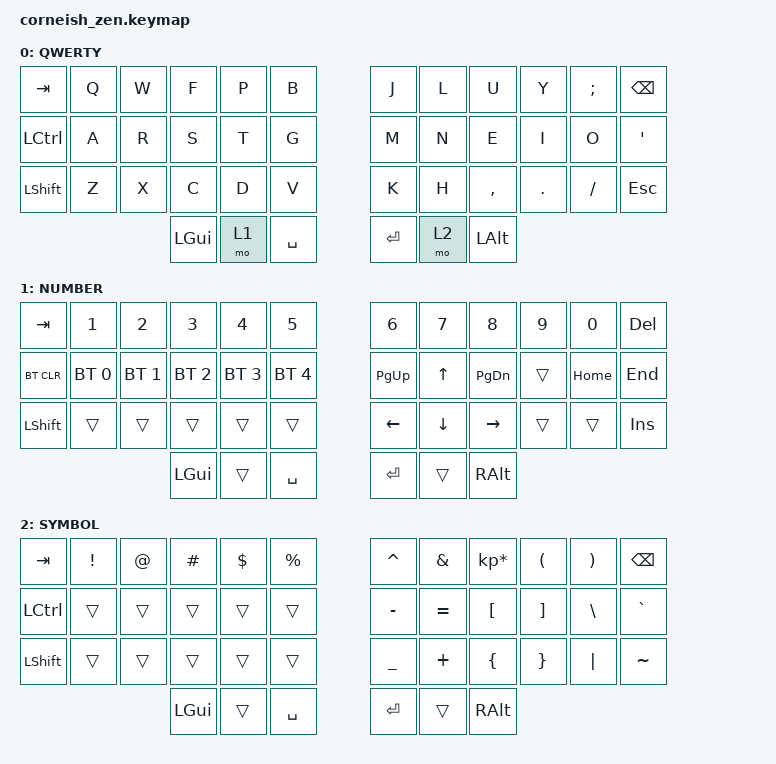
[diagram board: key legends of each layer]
/*
*
* Copyright (c) 2021 Darryl deHaan
* SPDX-License-Identifier: MIT
*
*/

#include <behaviors.dtsi>
#include <dt-bindings/zmk/keys.h>
#include <dt-bindings/zmk/bt.h>

/ {
  chosen {
    zmk,matrix_transform = &default_transform;
    //zmk,matrix_transform = &five_column_transform;
  };
};

/ {
        keymap {
                compatible = "zmk,keymap";

                default_layer {
                        label = "QWERTY";
// -----------------------------------------------------------------------------------------
// |  TAB |  Q  |  W  |  F  |  P  |  B  |   |  J  |  L   |  U  |  Y  |  ;  | BKSP |
// | CTRL |  A  |  R  |  S  |  T  |  G  |   |  M  |  N   |  E  |  I  |  O  |  '   |
// | SHFT |  Z  |  X  |  C  |  D  |  V  |   |  K  |  H   |  ,  |  .  |  /  | ESC  |
//                    | GUI | LWR | SPC |   | ENT | RSE  | ALT |
                        bindings = <
   &kp TAB   &kp Q &kp W &kp F &kp P &kp B   &kp J &kp L  &kp U     &kp Y   &kp SEMI &kp BSPC
   &kp LCTRL &kp A &kp R &kp S &kp T &kp G   &kp M &kp N  &kp E     &kp I   &kp O    &kp SQT
   &kp LSHFT &kp Z &kp X &kp C &kp D &kp V   &kp K &kp H  &kp COMMA &kp DOT &kp FSLH &kp ESC
                  &kp LGUI &mo 1 &kp SPACE   &kp RET &mo 2 &kp LALT
                        >;
                };
                lower_layer {
                        label = "NUMBER";
// -----------------------------------------------------------------------------------------
// |  TAB |  1  |  2  |  3  |  4  |  5  |   |  6  |  7  |  8  |  9  |  0  | DEL  |
// | BTCLR| BT1 | BT2 | BT3 | BT4 | BT5 |   |PG_UP|  UP |PD_DN|     | HOME| END  |
// | SHFT |     |     |     |     |     |   | LFT | DWN | RGT |     |     | INS  |
//                    | GUI |     | SPC |   | ENT |     | ALT |
                        bindings = <
   &kp TAB    &kp N1       &kp N2       &kp N3       &kp N4       &kp N5         &kp N6    &kp N7       &kp N8          &kp N9  &kp N0          &kp DEL
   &bt BT_CLR &bt BT_SEL 0 &bt BT_SEL 1 &bt BT_SEL 2 &bt BT_SEL 3 &bt BT_SEL 4   &kp PG_UP &kp UP       &kp PG_DN     &trans  &kp HOME        &kp END
   &kp LSHFT  &trans       &trans       &trans       &trans       &trans         &kp LEFT  &kp DOWN     &kp RIGHT       &trans  &trans          &kp INS
                          	        &kp LGUI     &trans       &kp SPACE      &kp RET   &trans       &kp RALT
                        >;
                };

                raise_layer {
                        label = "SYMBOL";
// -----------------------------------------------------------------------------------------
// |  TAB |  !  |  @  |  #  |  $  |  %  |   |  ^  |  &  |  *  |  (  |  )  | BKSP |
// | CTRL |     |     |     |     |     |   |  -  |  =  |  [  |  ]  |  \  |  `   |
// | SHFT |     |     |     |     |     |   |  _  |  +  |  {  |  }  | "|" |  ~   |
//                    | GUI |     | SPC |   | ENT |     | ALT |
                        bindings = <
   &kp  TAB  &kp EXCL &kp AT &kp HASH &kp DLLR &kp PRCNT   &kp CARET &kp AMPS  &kp KP_MULTIPLY &kp LPAR &kp RPAR &kp BSPC
   &kp LCTRL &trans   &trans &trans   &trans   &trans      &kp MINUS &kp EQUAL &kp LBKT        &kp RBKT &kp BSLH &kp GRAVE
   &kp LSHFT &trans   &trans &trans   &trans   &trans      &kp UNDER &kp PLUS  &kp LBRC        &kp RBRC &kp PIPE &kp TILDE
                    	     &kp LGUI &trans   &kp SPACE   &kp RET   &trans    &kp RALT
                        >;
                };
        };
};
